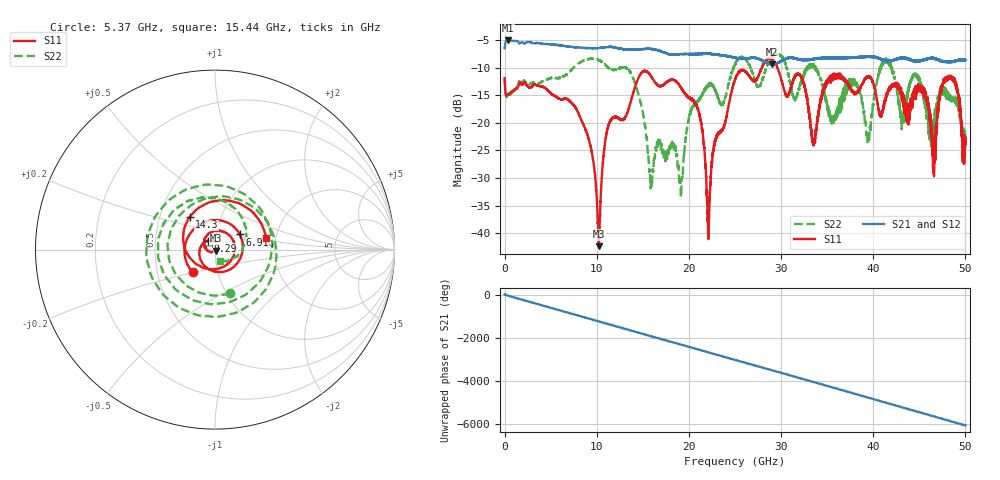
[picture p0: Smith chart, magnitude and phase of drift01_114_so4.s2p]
!Created with skrf (http://scikit-rf.org).
# Hz S RI R 50.0
!freq ReS11 ImS11 ReS21 ImS21 ReS12 ImS12 ReS22 ImS22
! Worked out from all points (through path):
!   10001 points, 300 kHz to 50 GHz, reference 50 ohm
!   highest |S21| = -5.05 dB at 325.3 MHz (marker M1); lowest = -9.4 dB at 29.02 GHz (marker M2)
!   group delay of S21, straight-line fit = 336 ps
!   lowest |S11| = -42.4 dB at 10.22 GHz (marker M3), VSWR 1.02, Z = 50.5 - j0.569 ohm
!   |S11| at or under -10 dB: start of sweep to 27.91 GHz; 29.6 GHz to end of sweep
!   |S22| runs from -33.3 to -7.5 dB; largest |S21 - S12| = 0.014
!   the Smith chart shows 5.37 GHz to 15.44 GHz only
!   S11 on the Smith chart (normalised r, x): 5.37 GHz: 0.76, -0.20; 6.91 GHz: 1.30, +0.23; 9.29 GHz: 0.92, +0.09; 14.3 GHz: 0.71, +0.27; 15.44 GHz: 1.77, +0.25
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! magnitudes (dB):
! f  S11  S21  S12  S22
! 300 kHz  -11.9  -6.5  -6.5  -11.7
! 325.3 MHz  -15.0  -5.1  -5.1  -15.3
! 5.37 GHz  -15.0  -5.9  -5.9  -11.8
! 6.91 GHz  -15.8  -6.1  -6.1  -11.0
! 8.335 GHz  -19.5  -6.3  -6.4  -8.9
! 9.29 GHz  -24.0  -6.4  -6.4  -8.3
! 10.22 GHz  -42.4  -6.4  -6.4  -8.6
! 11.23 GHz  -20.7  -6.2  -6.2  -9.9
! 14.3 GHz  -12.8  -6.7  -6.7  -13.5
! 15.44 GHz  -10.7  -6.6  -6.6  -22.9
! 16.67 GHz  -13.2  -6.9  -6.8  -23.3
! 19.14 GHz  -13.6  -7.5  -7.6  -33.0
! 20.85 GHz  -16.8  -7.6  -7.6  -16.1
! 22.13 GHz  -40.2  -7.5  -7.5  -13.4
! 25 GHz  -12.1  -8.2  -8.2  -9.5
! 29.02 GHz  -8.5  -9.4  -9.4  -8.1
! 33.34 GHz  -22.5  -8.5  -8.4  -9.5
! 39.47 GHz  -11.7  -8.0  -7.9  -22.0
! 41.67 GHz  -13.8  -8.8  -8.7  -8.9
! 46.56 GHz  -26.1  -8.3  -8.3  -20.1
! 48.55 GHz  -11.7  -8.9  -8.9  -15.6
! 50 GHz  -23.9  -8.6  -8.7  -23.0
